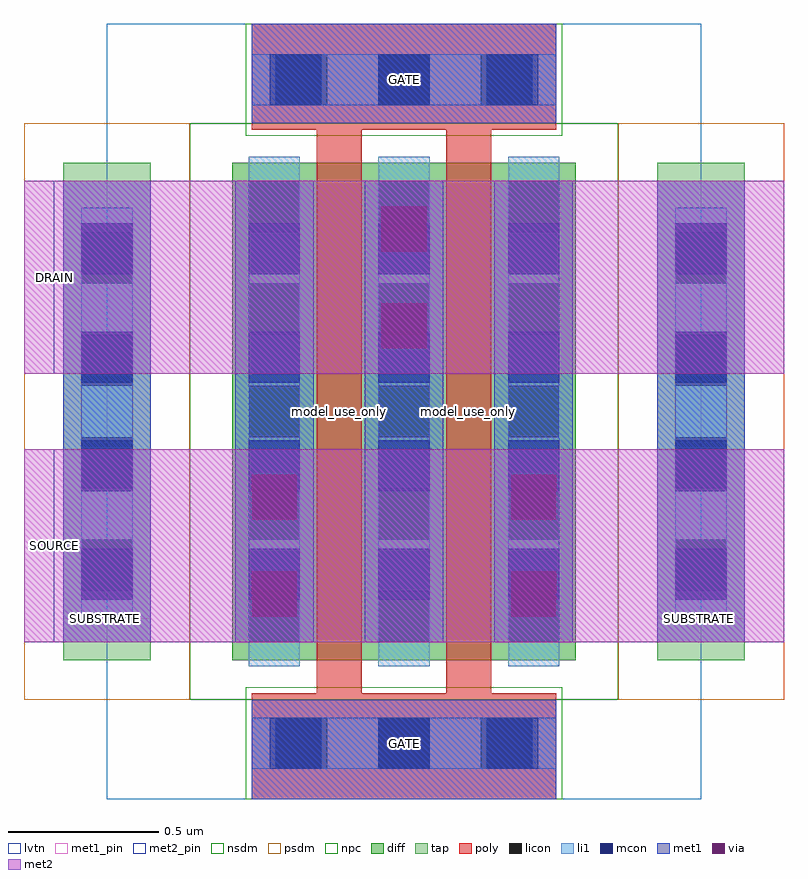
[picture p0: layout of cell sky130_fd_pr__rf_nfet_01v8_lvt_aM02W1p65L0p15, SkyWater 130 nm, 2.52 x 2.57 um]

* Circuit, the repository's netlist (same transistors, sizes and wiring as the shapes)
* Copyright 2020 The SkyWater PDK Authors
*
* Licensed under the Apache License, Version 2.0 (the "License");
* you may not use this file except in compliance with the License.
* You may obtain a copy of the License at
*
*     https://www.apache.org/licenses/LICENSE-2.0
*
* Unless required by applicable law or agreed to in writing, software
* distributed under the License is distributed on an "AS IS" BASIS,
* WITHOUT WARRANTIES OR CONDITIONS OF ANY KIND, either express or implied.
* See the License for the specific language governing permissions and
* limitations under the License.
*
* SPDX-License-Identifier: Apache-2.0


.subckt sky130_fd_pr__rf_nfet_01v8_lvt_aM02W1p65L0p15 DRAIN GATE SOURCE SUBSTRATE
X0 DRAIN GATE SOURCE SUBSTRATE sky130_fd_pr__nfet_01v8_lvt w=1.65e+06u l=150000u
X1 SOURCE GATE DRAIN SUBSTRATE sky130_fd_pr__nfet_01v8_lvt w=1.65e+06u l=150000u
.ends

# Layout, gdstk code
import gdstk
lib = gdstk.Library(unit=1e-6, precision=1e-09)
def R(c, l, rs):  # rectangles x0, y0, x1, y1
    for r in rs: c.add(gdstk.rectangle(r[:2], r[2:], *l))
def A(c, l, x, y, w, h, nx, ny, dx, dy):  # array of equal rectangles
    R(c, l, [(x+i*dx, y+j*dy, x+i*dx+w, y+j*dy+h) for i in range(nx) for j in range(ny)])
diff = (65, 20)
tap = (65, 44)
poly = (66, 20)
licon = (66, 44)
li1 = (67, 20)
mcon = (67, 44)
met1_pin = (68, 16)
met1 = (68, 20)
via = (68, 44)
met2_pin = (69, 16)
met2 = (69, 20)
nsdm = (93, 44)
psdm = (94, 20)
npc = (95, 20)
lvtn = (125, 44)

sky130_fd_pr__rf_nfet_01 = lib.new_cell('sky130_fd_pr__rf_nfet_01v8_lvt_aM02W1p65L0p15')
R(sky130_fd_pr__rf_nfet_01, diff, [(0.74,0.51,1.88,2.16)])
R(sky130_fd_pr__rf_nfet_01, tap, [(0.18,0.51,0.47,2.16), (2.15,0.51,2.44,2.16)])
R(sky130_fd_pr__rf_nfet_01, poly, [(0.805,0.05,1.815,0.4), (1.02,0.4,1.17,2.27), (1.45,0.4,1.6,2.27), (0.805,2.27,1.815,2.62)])
A(sky130_fd_pr__rf_nfet_01, licon, 0.885, 0.15, 0.17, 0.17, 3, 2, 0.34, 2.2)
A(sky130_fd_pr__rf_nfet_01, licon, 0.795, 0.57, 0.17, 0.17, 3, 5, 0.43, 0.34)
A(sky130_fd_pr__rf_nfet_01, licon, 0.24, 0.74, 0.17, 0.17, 1, 4, 0, 0.34)
A(sky130_fd_pr__rf_nfet_01, licon, 2.21, 0.74, 0.17, 0.17, 1, 4, 0, 0.34)
A(sky130_fd_pr__rf_nfet_01, li1, 0.795, 0.49, 0.17, 1.69, 3, 1, 0.43, 0)
R(sky130_fd_pr__rf_nfet_01, li1, [(0.805,0.15,1.815,0.32), (0.865,0.15,1.755,0.32), (0.24,0.66,0.41,2.01), (2.21,0.66,2.38,2.01), (0.805,2.35,1.815,2.52), (0.865,2.35,1.755,2.52)])
A(sky130_fd_pr__rf_nfet_01, mcon, 0.865, 0.15, 0.17, 0.17, 3, 2, 0.36, 2.2)
A(sky130_fd_pr__rf_nfet_01, mcon, 0.24, 0.71, 0.17, 0.17, 1, 4, 0, 0.36)
A(sky130_fd_pr__rf_nfet_01, mcon, 0.795, 0.71, 0.17, 0.17, 3, 4, 0.43, 0.36)
A(sky130_fd_pr__rf_nfet_01, mcon, 2.21, 0.71, 0.17, 0.17, 1, 4, 0, 0.36)
R(sky130_fd_pr__rf_nfet_01, met1_pin, [(0.805,0.05,1.815,0.38), (0.18,0.57,0.47,0.65), (2.15,0.57,2.44,0.65), (0.805,2.29,1.815,2.62)])
A(sky130_fd_pr__rf_nfet_01, met1, 0.75, 0.57, 0.26, 1.53, 3, 1, 0.43, 0)
R(sky130_fd_pr__rf_nfet_01, met1, [(0.805,0.05,1.815,0.38), (0.18,0.57,0.47,2.1), (2.15,0.57,2.44,2.1), (0.805,2.29,1.815,2.62)])
R(sky130_fd_pr__rf_nfet_01, via, [(0.805,0.655,0.955,0.805), (1.665,0.655,1.815,0.805), (0.805,0.975,0.955,1.125), (1.665,0.975,1.815,1.125), (1.235,1.545,1.385,1.695), (1.235,1.865,1.385,2.015)])
R(sky130_fd_pr__rf_nfet_01, met2_pin, [(0.05,0.57,0.15,1.21), (0.05,1.46,0.15,2.1)])
R(sky130_fd_pr__rf_nfet_01, met2, [(0.05,0.57,2.57,1.21), (0.05,1.46,2.57,2.1)])
R(sky130_fd_pr__rf_nfet_01, nsdm, [(0.6,0.38,2.02,2.29)])
R(sky130_fd_pr__rf_nfet_01, psdm, [(0.05,0.38,0.6,2.29), (2.02,0.38,2.57,2.29)])
R(sky130_fd_pr__rf_nfet_01, npc, [(0.785,0.05,1.835,0.42), (0.785,2.25,1.835,2.62)])
R(sky130_fd_pr__rf_nfet_01, lvtn, [(0.325,0.05,2.295,2.62)])
sky130_fd_pr__rf_nfet_01.add(gdstk.Label('model_use_only', (1.095,1.335), layer=66, texttype=83))
sky130_fd_pr__rf_nfet_01.add(gdstk.Label('model_use_only', (1.525,1.335), layer=66, texttype=83))
sky130_fd_pr__rf_nfet_01.add(gdstk.Label('DRAIN', (0.15,1.78), layer=69, texttype=5))
sky130_fd_pr__rf_nfet_01.add(gdstk.Label('SOURCE', (0.15,0.89), layer=69, texttype=5))
sky130_fd_pr__rf_nfet_01.add(gdstk.Label('GATE', (1.31,0.235), layer=68, texttype=5))
sky130_fd_pr__rf_nfet_01.add(gdstk.Label('GATE', (1.31,2.435), layer=68, texttype=5))
sky130_fd_pr__rf_nfet_01.add(gdstk.Label('SUBSTRATE', (0.32,0.65), layer=68, texttype=5))
sky130_fd_pr__rf_nfet_01.add(gdstk.Label('SUBSTRATE', (2.29,0.65), layer=68, texttype=5))

lib.write_gds('sky130_fd_pr__rf_nfet_01v8_lvt_aM02W1p65L0p15.gds')
